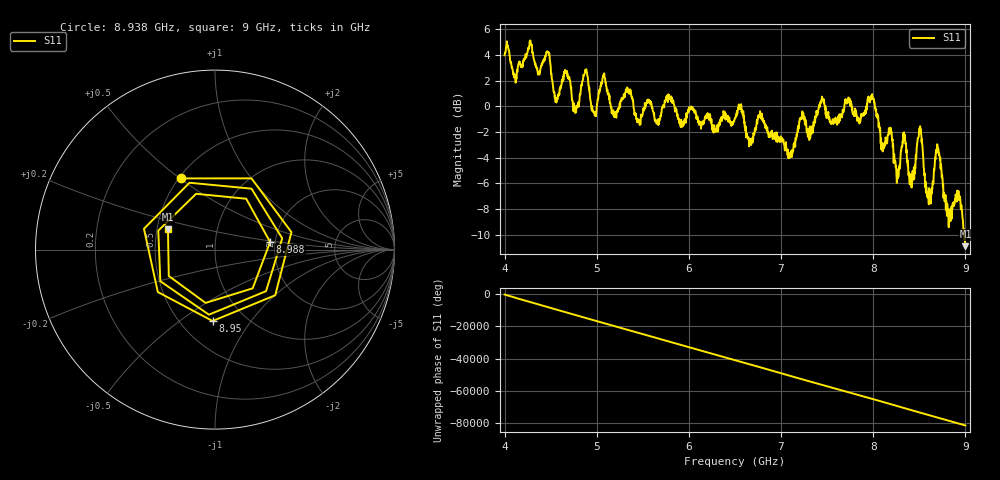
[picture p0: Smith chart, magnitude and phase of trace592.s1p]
! Created with skrf 1.8.0 (http://scikit-rf.org).
# Hz S RI R 50.0
!freq ReS11 ImS11
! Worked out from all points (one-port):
!   1601 points, 4 GHz to 9 GHz, reference 50 ohm
!   lowest |S11| = -10.9 dB at 9 GHz (marker M1), VSWR 1.80, Z = 28.6 + j7.04 ohm
!   |S11| at or under -10 dB: 8.986859 GHz to end of sweep
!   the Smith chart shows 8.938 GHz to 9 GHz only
!   S11 on the Smith chart (normalised r, x): 8.938 GHz: 0.51, +0.51; 8.95 GHz: 0.71, -0.67; 8.988 GHz: 1.88, +0.18; 9 GHz: 0.57, +0.14
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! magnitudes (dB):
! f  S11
! 4 GHz  4.0
! 4.466 GHz  4.2
! 4.625 GHz  2.0
! 4.766 GHz  -0.5
! 4.878 GHz  2.7
! 4.969 GHz  -0.5
! 5.072 GHz  2.5
! 5.25 GHz  0.3
! 5.875 GHz  -0.6
! 6.5 GHz  -0.9
! 7.125 GHz  -3.5
! 7.441 GHz  0.5
! 7.75 GHz  0.2
! 7.991 GHz  0.6
! 8.103 GHz  -3.5
! 8.184 GHz  -1.9
! 8.266 GHz  -5.6
! 8.338 GHz  -2.5
! 8.375 GHz  -4.6
! 8.419 GHz  -5.5
! 8.506 GHz  -2.0
! 8.603 GHz  -7.6
! 8.703 GHz  -3.2
! 8.812 GHz  -8.0
! 8.938 GHz  -7.2
! 8.95 GHz  -8.0
! 8.988 GHz  -10.2
! 9 GHz  -10.9
